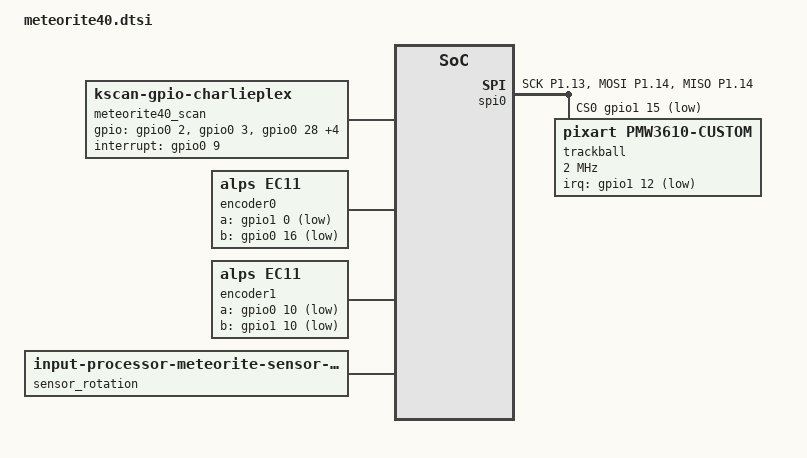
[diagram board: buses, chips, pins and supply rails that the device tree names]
#include <zephyr/dt-bindings/input/input-event-codes.h>
#include <dt-bindings/zmk/matrix_transform.h>
#include <dt-bindings/zmk/input_transform.h>
#include <dt-bindings/zmk/keys.h>
/*
 * keys.h pulls in modifiers.h, whose RC(keycode) (right-control) macro shadows
 * matrix_transform.h's RC(row, col) used by the shield keymap transforms.
 * Restore the transform macro here; the ball router bindings below use only
 * LC/LG/LA, never RC. (Keymaps include keys.h in their own translation unit and
 * do not use right-control RC(), so they are unaffected.)
 */
#undef RC
#define RC(row, col) (((row) << 8) + (col))
#include <input/processors.dtsi>

#define DEFAULT_CPI 800         // トラックボールの感度
#define ROTATION_ANGLE 20       // トラックボールのY軸を回転
#define CLIPPER_THRESHOLD 20    // スクロール時に斜めの値をクリップ

// Ball Profile 値（enum zmk_ball_profile / zmk.meteorite.BallProfile と一致させること）
#define BALL_OFF 0
#define BALL_SCROLL 1
#define BALL_SENS_NORMAL 2
#define INVERT_X 0              // X軸のスクロールの反転
#define INVERT_Y 0              // Y軸のスクロールの反転

#define SCALING_MODE 1          // 0: 無効, 1: 有効
#define SCROLL_SCALING_MODE 0   // 0: 無効, 1: 有効
#define OS_MODE_DEFAULT 0       // 0: Win, 1: Mac
#define MAX_OUTPUT 300          // 出力の最大絶対値 |y|。既定 127
#define HALF_INPUT 50           // r=|x|/xs の xs（counts）。既定 50
#define EXPONENT_TENTHS 12      // 指数 p を 0.1 分解能で指定（p*10、例: 15 は p=1.5）。既定 10（p=1.0）

#define SCROLL_MAX_OUTPUT 300
#define SCROLL_HALF_INPUT 55
#define SCROLL_EXPONENT_TENTHS 6  // p = 0.6

#define POLL_PERIOD_MS 15       // キースキャンのポーリング周期（ms）
#define DEBOUNCE_MS 10           // デバウンス時間 (ms)

&spi0 {
    status = "okay";
    compatible = "nordic,nrf-spim";
    cs-gpios = <&gpio1 15 GPIO_ACTIVE_LOW>; // CS: P1.15

    pinctrl-0 = <&spi0_default>;
    pinctrl-1 = <&spi0_sleep>;
    pinctrl-names = "default", "sleep";

    trackball: pmw3610@0 {
        compatible = "pixart,pmw3610-custom";
        reg = <0>;
        spi-max-frequency = <2000000>;
        irq-gpios = <&gpio1 12 (GPIO_ACTIVE_LOW | GPIO_PULL_UP)>; // MOTION: P1.12
        cpi = <DEFAULT_CPI>;
        evt-type = <INPUT_EV_REL>;
        x-input-code = <INPUT_REL_X>;
        y-input-code = <INPUT_REL_Y>;
        force-awake;
        //force-awake-4ms-mode;
        status = "okay";
    };
};

&pinctrl {
    spi0_default: spi0_default {
        group1 {
            psels = <NRF_PSEL(SPIM_SCK, 1, 13)>,   // SCLK:  P1.13
                    <NRF_PSEL(SPIM_MOSI, 1, 14)>,  // SDIO:  P1.14
                    <NRF_PSEL(SPIM_MISO, 1, 14)>;  // MISOは同じSDIO兼用
        };
    };

    spi0_sleep: spi0_sleep {
        group1 {
            psels = <NRF_PSEL(SPIM_SCK, 1, 13)>,
                    <NRF_PSEL(SPIM_MOSI, 1, 14)>,
                    <NRF_PSEL(SPIM_MISO, 1, 14)>;
            low-power-enable;
        };
    };
};

/ {
    meteorite40_scan: kscan0 {
        compatible = "zmk,kscan-gpio-charlieplex";
        gpios = <&gpio0 2 GPIO_ACTIVE_HIGH>,  // ID0: P0.02
                <&gpio0 3 GPIO_ACTIVE_HIGH>,  // ID1: P0.03
                <&gpio0 28 GPIO_ACTIVE_HIGH>, // ID2: P0.28
                <&gpio0 29 GPIO_ACTIVE_HIGH>, // ID3: P0.29
                <&gpio0 4 GPIO_ACTIVE_HIGH>,  // ID4: P0.04
                <&gpio0 5 GPIO_ACTIVE_HIGH>,  // ID5: P0.05
                <&gpio1 11 GPIO_ACTIVE_HIGH>; // ID6: P1.11

        interrupt-gpios = <&gpio0 9 (GPIO_ACTIVE_HIGH | GPIO_PULL_DOWN)>; // Changed to P0.09 (NFC1)
        debounce-press-ms = <DEBOUNCE_MS>;
        debounce-release-ms = <DEBOUNCE_MS>;
        poll-period-ms = <POLL_PERIOD_MS>;
        wakeup-source;
    };

    encoder0: ec11_0 {
        compatible = "alps,ec11";
        a-gpios = <&gpio1 0 (GPIO_ACTIVE_LOW   | GPIO_PULL_UP)>;   // RE0_A: P1.00
        b-gpios = <&gpio0 16 (GPIO_ACTIVE_LOW   | GPIO_PULL_UP)>;  // RE0_B: P0.16
        steps = <96>;
        status = "okay";
    };

    encoder1: ec11_1 {
        compatible = "alps,ec11";
        a-gpios = <&gpio0 10 (GPIO_ACTIVE_LOW   | GPIO_PULL_UP)>;  // RE1_A: P0.10 (NFC2)
        b-gpios = <&gpio1 10 (GPIO_ACTIVE_LOW   | GPIO_PULL_UP)>;  // RE1_B: P1.10
        steps = <96>;
        status = "okay";
    };

    sensors: sensors {
        compatible = "zmk,keymap-sensors";
        sensors = <&encoder0 &encoder1>;
        triggers-per-rotation = <24>;
    };

    /*
    xy_transf: xy_transf {
        compatible = "zmk,input-processor-transform";
        #input-processor-cells = <1>;
        type = <INPUT_EV_REL>;
        x-codes = <INPUT_REL_X>, <INPUT_REL_WHEEL>;
        y-codes = <INPUT_REL_Y>, <INPUT_REL_HWHEEL>;
    };

    xy_scaler: xy_scaler {
        compatible = "zmk,input-processor-scaler";
        #input-processor-cells = <2>;
        type = <INPUT_EV_REL>;
        codes = <INPUT_REL_X>, <INPUT_REL_Y>;
        track-remainders;
    };

    x_scaler: x_scaler {
        compatible = "zmk,input-processor-scaler";
        #input-processor-cells = <2>;
        type = <INPUT_EV_REL>;
        codes = <INPUT_REL_X>;
    };
    */

    to_wheel: to_wheel {
        compatible = "zmk,input-processor-code-mapper";
        #input-processor-cells = <0>;
        type = <INPUT_EV_REL>;
        map = <INPUT_REL_X INPUT_REL_HWHEEL>,
              <INPUT_REL_Y INPUT_REL_WHEEL>;
    };

    motion_scaler: motion_scaler {
        compatible = "zmk,input-processor-meteorite-motion-scaler";
        #input-processor-cells = <0>;
        custom-config-scaling = <0>;
        scaling-mode = <SCALING_MODE>;
        max-output = <MAX_OUTPUT>;
        half-input = <HALF_INPUT>;
        exponent-tenths = <EXPONENT_TENTHS>;
        track-remainders;
    };

    scroll_motion_scaler: motion_scaler_scroll {
        compatible = "zmk,input-processor-meteorite-motion-scaler";
        #input-processor-cells = <0>;
        custom-config-scaling = <1>;
        scaling-mode = <SCROLL_SCALING_MODE>;
        max-output = <SCROLL_MAX_OUTPUT>;
        half-input = <SCROLL_HALF_INPUT>;
        exponent-tenths = <SCROLL_EXPONENT_TENTHS>;
        //track-remainders;
    };

    sensor_rotation: sensor_rotation {
        compatible = "zmk,input-processor-meteorite-sensor-rotation";
        #input-processor-cells = <0>;
        rotation-angle = <ROTATION_ANGLE>;
    };

    xy_clipper: xy_clipper {
        compatible = "zmk,input-processor-meteorite-xy-clipper";
        #input-processor-cells = <0>;
        threshold = <CLIPPER_THRESHOLD>;
        invert-x = <INVERT_X>;
        invert-y = <INVERT_Y>;
    };

    /*
     * NOTE: これらのノードを #if CONFIG_ZMK_CUSTOM_CONFIG で囲ってはいけない。
     * Zephyr は devicetree のプリプロセスを Kconfig より先に実行するため、DTS
     * 内では CONFIG_* マクロが未定義（=偽）になり、ノードごと DT から除外され、
     * default 値が一切読めなくなる（ZMK 自身も dtsi 内で #if CONFIG_ を使わない）。
     */
    ball_profile_defaults: ball_profile_defaults {
        compatible = "zmk,ball-profile-defaults";
        /* レイヤ index 順: 0=BASE 1=SYMBOLS 2=NUM/ARROW 3=FUNCTION 4=SETTING。
         * デフォルト: Layer 2 (NUM/ARROW) のみ SCROLL、他は OFF。 */
        layer-profiles = <BALL_OFF BALL_OFF BALL_SCROLL BALL_OFF BALL_OFF>;
        sensitivity = <BALL_SENS_NORMAL>;
    };

    custom_config_defaults: custom_config_defaults {
        compatible = "zmk,custom-config-defaults";
        os-mode = <OS_MODE_DEFAULT>;
        idle-timeout-s = <120>;
        idle-sleep-timeout-s = <900>;
    };

    behaviors {
        /* Ball Profile 専用の OS キー（keymap の &mosk とは別インスタンスにして
         * pressed 状態を共有しない）。param 0 はそのOSで no-op。 */
        ball_mosk: ball_mosk {
            compatible = "zmk,behavior-meteorite-os-key";
            #binding-cells = <2>;
            display-name = "Ball OS-Switch Key";
        };
    };

    ball_profile_router: ball_profile_router {
        compatible = "zmk,input-processor-meteorite-ball-profile";
        #input-processor-cells = <0>;
        /* SCROLL profile のサブチェーン（現挙動を踏襲） */
        input-processors = <&xy_clipper>,
                           <&scroll_motion_scaler>,
                           <&to_wheel>;
        /* 固定 Profile の 12 binding（profile-major / 方向 LEFT,RIGHT,UP,DOWN）。
         * &ball_mosk <Win> <Mac>（0 = そのOSで no-op）、OS非依存は &kp。
         * ズームは consumer の C_AC_ZOOM_IN/OUT だとブラウザ/OS が反応しないため、
         * 確実に効く Ctrl/⌘ + = / - を使う。 */
        bindings =
            /* BROWSER */
            <&ball_mosk LC(PG_UP) LG(LA(LEFT))>,
            <&ball_mosk LC(PG_DN) LG(LA(RIGHT))>,
            <&ball_mosk LC(EQUAL) LG(EQUAL)>,
            <&ball_mosk LC(MINUS) LG(MINUS)>,
            /* DESKTOP */
            <&ball_mosk LC(LG(LEFT)) LC(LEFT)>,
            <&ball_mosk LC(LG(RIGHT)) LC(RIGHT)>,
            <&ball_mosk LG(TAB) LC(UP)>,
            <&ball_mosk LG(D) F11>,
            /* WINDOW（Mac: System Settings > Keyboard Shortcuts > App Shortcuts で
             * 「Window > Move & Resize > Left/Right/Fill」に Ctrl+Opt+←/→/↑ を設定） */
            <&ball_mosk LG(LEFT) LC(LA(LEFT))>,
            <&ball_mosk LG(RIGHT) LC(LA(RIGHT))>,
            <&ball_mosk LG(UP) LC(LA(UP))>,
            <&ball_mosk LG(DOWN) LC(LA(DOWN))>;
    };

    trackball_listener {
        compatible = "zmk,input-listener";
        device = <&trackball>;

        input-processors = <&sensor_rotation>,
                           <&ball_profile_router>,
                           <&motion_scaler>;
    };
};
